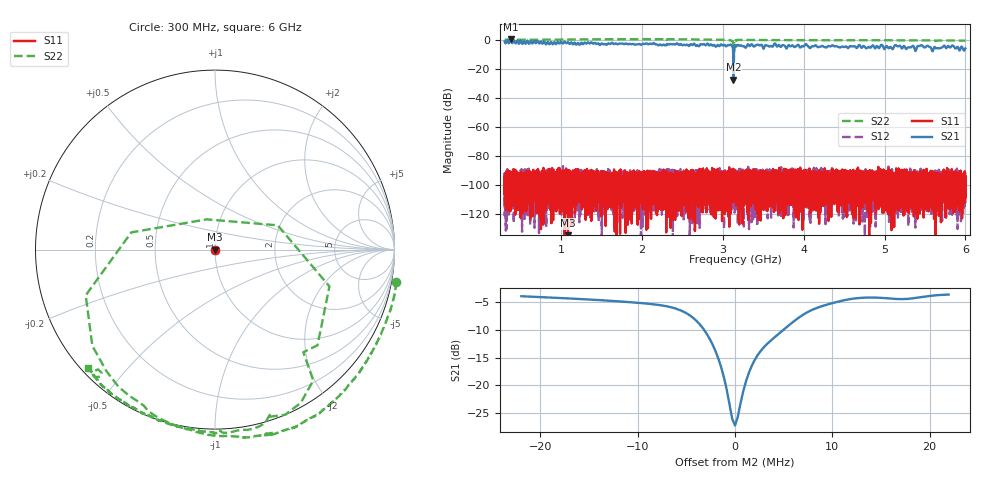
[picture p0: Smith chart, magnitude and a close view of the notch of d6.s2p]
!Agilent Technologies,N5230C,SG49000117,A.08.50.07
!Agilent N5230C: A.08.50.07
!Date: Sunday, March 17, 2024 05:39:24
!Correction: S11(Off)
!S21(Off)
!S12(Off)
!S22(Full 1 Port(2))
!S2P File: Measurements: S11, S21, S12, S22:
# Hz S  RI  R 50
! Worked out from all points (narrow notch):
!   20001 points, 300 MHz to 6 GHz, reference 50 ohm
!   highest |S21| = 0.46 dB at 373.8 MHz (marker M1); lowest = -27.2 dB at 3.131 GHz (marker M2)
!   notch at M2: 23.7 dB deep, 3.7 MHz wide at half that depth
!   lowest |S11| = -143.1 dB at 1.084 GHz (marker M3), VSWR 1.00, Z = 50 + j6.63e-06 ohm
!   |S11| at or under -10 dB: start of sweep to end of sweep
!   |S22| runs from -15.8 to 0.7 dB; largest |S21 - S12| = 1.1
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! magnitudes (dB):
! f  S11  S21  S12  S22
! 300 MHz  -96.3  -0.9  -101.2  0.2
! 373.8 MHz  -117.6  0.5  -92.1  0.3
! 1.084 GHz  -143.1  -1.4  -96.4  0.4
! 1.25 GHz  -96.6  -1.7  -94.3  0.5
! 2.2 GHz  -100.5  -3.6  -98.2  0.7
! 3.08 GHz  -92.7  -3.4  -98.8  0.0
! 3.131 GHz  -101.7  -27.2  -95.2  -7.5
! 3.15 GHz  -107.1  -4.1  -98.4  -2.1
! 3.167 GHz  -103.6  -4.3  -99.8  -0.4
! 3.198 GHz  -93.3  -3.7  -94.0  0.1
! 3.267 GHz  -96.5  -4.4  -100.2  0.1
! 3.646 GHz  -100.2  -2.3  -92.9  0.0
! 3.974 GHz  -100.0  -4.3  -93.4  0.0
! 4.03 GHz  -94.0  -2.8  -95.8  -0.1
! 4.1 GHz  -95.7  -4.3  -90.4  0.0
! 5.05 GHz  -92.8  -5.6  -101.2  -0.1
! 5.152 GHz  -95.3  -4.0  -96.3  -0.1
! 5.388 GHz  -113.6  -7.0  -95.1  -0.1
! 5.447 GHz  -98.2  -3.7  -104.1  -0.2
! 5.606 GHz  -96.0  -6.0  -102.3  -0.2
! 5.838 GHz  -105.0  -3.6  -97.9  -0.3
! 6 GHz  -102.1  -5.7  -97.9  -0.3
